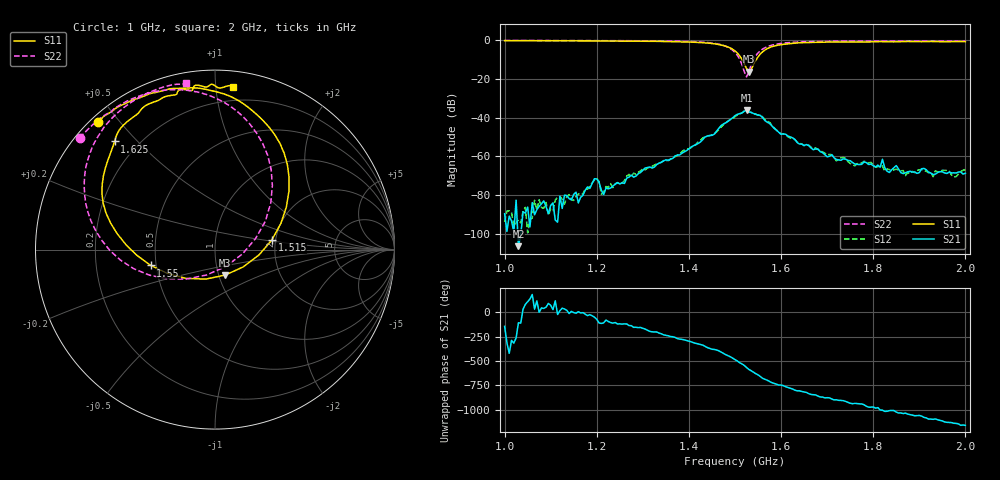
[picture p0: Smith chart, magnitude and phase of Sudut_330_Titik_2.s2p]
# Hz S RI R 50
! CMT, C1220, 16058040, 17.2.0/1
! Date: 14/08/2018 12:50:00
! Data: Format (Calibration Info)
! Freq  S11: Re/Im (F2)  S21: Re/Im (F2)  S12: Re/Im (F2)  S22: Re/Im (F2)
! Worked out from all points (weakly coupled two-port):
!   201 points, 1 GHz to 2 GHz, reference 50 ohm
!   highest |S21| = -36.28 dB at 1.525 GHz (marker M1); lowest = -106.4 dB at 1.03 GHz (marker M2)
!   lowest |S11| = -16.3 dB at 1.53 GHz (marker M3), VSWR 1.36, Z = 53.6 - j15.6 ohm
!   |S11| at or under -10 dB: 1.515 GHz to 1.546 GHz (31.15 MHz wide, 2.03 % of centre)
!   |S22| runs from -19.0 to -0.2 dB; largest |S21 - S12| = 0.00066
!   S11 on the Smith chart (normalised r, x): 1 GHz: 0.02, +0.44; 1.515 GHz: 1.91, +0.23; 1.55 GHz: 0.47, -0.10; 1.625 GHz: 0.12, +0.43; 2 GHz: 0.10, +1.11
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1e9  -0.6512 0.7132  -2.72e-05 -1.87e-05  -1.81e-05 9.06e-06  -0.7536 0.6215
1.03e9  -0.6276 0.7354  -1.51e-06 -4.54e-06  -2.27e-05 3.99e-06  -0.7341 0.6438
1.17e9  -0.4812 0.8233  9.77e-05 -8.42e-06  0.000105 -3.12e-06  -0.6183 0.7467
1.195e9  -0.4449 0.8387  0.000164 -0.000206  7.33e-05 -0.00023  -0.5896 0.7598
1.215e9  -0.424 0.8445  -3.44e-05 -9.64e-05  2.02e-06 -0.00012  -0.5779 0.7685
1.335e9  -0.2197 0.8975  -0.000553 0.000367  -0.000522 0.000424  -0.4037 0.8617
1.45e9  0.1828 0.7945  0.00328 -0.00116  0.00328 -0.00141  0.0178 0.8372
1.5e9  0.412 0.3255  -0.00627 -0.00921  -0.00593 -0.00865  0.3197 0.3569
1.515e9  0.3169 0.054  -0.0129 -0.00237  -0.0129 -0.00271  0.2265 0.0622
1.525e9  0.1576 -0.0964  -0.0138 0.00678  -0.0139 0.0067  0.0596 -0.0947
1.53e9  0.0565 -0.142  -0.00975 0.00998  -0.00984 0.00994  -0.0468 -0.1413
1.55e9  -0.3577 -0.0884  0.0024 0.0112  0.00195 0.0114  -0.4545 -0.1056
1.58e9  -0.6231 0.2593  0.00608 -0.000146  0.00632 -0.000371  -0.7083 0.2095
1.625e9  -0.5595 0.6023  0.00117 -0.00275  0.00116 -0.00262  -0.7032 0.5181
1.67e9  -0.4459 0.745  -0.000832 -0.00121  -0.000818 -0.00135  -0.6273 0.6685
1.805e9  -0.2021 0.8876  -7.25e-05 0.000524  -0.000119 0.00051  -0.4221 0.8485
1.82e9  -0.172 0.8924  0.000193 0.000814  7.46e-05 0.000556  -0.4016 0.859
1.835e9  -0.1361 0.8869  0.000118 0.000362  0.00016 0.000425  -0.3816 0.8692
1.85e9  -0.1234 0.8936  0.000308 0.000485  0.000264 0.000386  -0.3616 0.8785
1.865e9  -0.1143 0.9128  0.000263 0.000241  0.00033 0.000272  -0.3409 0.8866
1.975e9  0.065 0.9107  0.000201 -0.000315  0.000149 -0.00025  -0.187 0.9209
2e9  0.1021 0.9058  6.53e-05 -0.00036  5.01e-05 -0.000453  -0.1593 0.93
